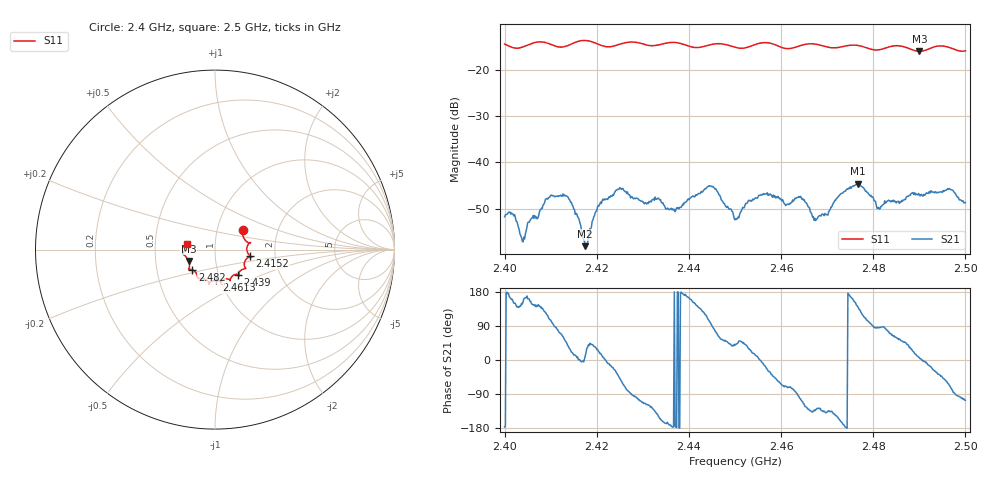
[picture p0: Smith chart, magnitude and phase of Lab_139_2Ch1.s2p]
# Hz S RI R 50
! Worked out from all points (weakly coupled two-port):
!   601 points, 2.4 GHz to 2.5 GHz, reference 50 ohm
!   highest |S21| = -44.58 dB at 2.4767 GHz (marker M1); lowest = -58.1 dB at 2.4175 GHz (marker M2)
!   lowest |S11| = -15.9 dB at 2.49 GHz (marker M3), VSWR 1.38, Z = 36.9 - j4.81 ohm
!   |S11| at or under -10 dB: start of sweep to end of sweep
!   S12 and S22 are empty: the file has one direction only
!   S11 on the Smith chart (normalised r, x): 2.4 GHz: 1.33, +0.31; 2.4152 GHz: 1.48, -0.11; 2.439 GHz: 1.24, -0.36; 2.4613 GHz: 0.96, -0.34; 2.482 GHz: 0.76, -0.17; 2.5 GHz: 0.72, +0.05
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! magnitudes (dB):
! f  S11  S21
! 2.4 GHz  -14.3  -51.8
! 2.4018 GHz  -15.1  -51.2
! 2.404 GHz  -15.0  -57.2
! 2.41 GHz  -14.4  -47.1
! 2.4152 GHz  -14.1  -50.2
! 2.4167 GHz  -13.6  -54.6
! 2.4175 GHz  -13.6  -58.1
! 2.4207 GHz  -14.5  -49.0
! 2.4245 GHz  -14.5  -45.8
! 2.4333 GHz  -14.5  -47.7
! 2.439 GHz  -14.5  -48.7
! 2.4448 GHz  -14.4  -45.1
! 2.45 GHz  -15.0  -52.4
! 2.4557 GHz  -14.1  -47.0
! 2.4613 GHz  -15.3  -49.1
! 2.4642 GHz  -14.7  -47.4
! 2.4667 GHz  -14.3  -51.2
! 2.4767 GHz  -14.6  -44.6
! 2.482 GHz  -15.4  -49.2
! 2.4833 GHz  -15.0  -48.2
! 2.49 GHz  -15.9  -47.0
! 2.5 GHz  -15.8  -48.7
